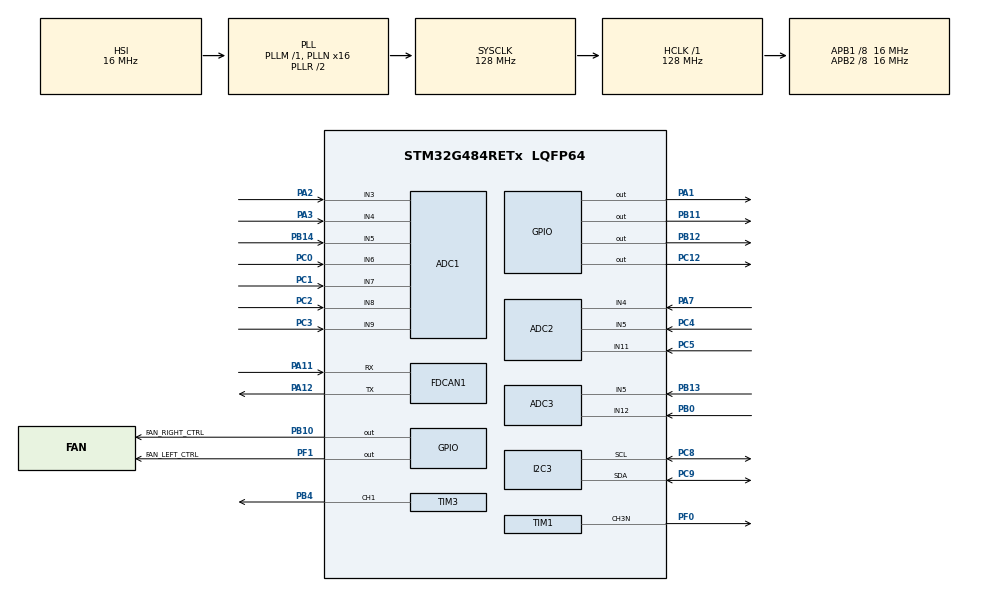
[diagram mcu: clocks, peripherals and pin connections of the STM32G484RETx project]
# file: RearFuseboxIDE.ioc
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ADC1.Channel-10\#ChannelRegularConversion=ADC_CHANNEL_9
ADC1.Channel-11\#ChannelRegularConversion=ADC_CHANNEL_3
ADC1.Channel-12\#ChannelRegularConversion=ADC_CHANNEL_4
ADC1.Channel-13\#ChannelRegularConversion=ADC_CHANNEL_5
ADC1.Channel-7\#ChannelRegularConversion=ADC_CHANNEL_6
ADC1.Channel-8\#ChannelRegularConversion=ADC_CHANNEL_7
ADC1.Channel-9\#ChannelRegularConversion=ADC_CHANNEL_8
ADC1.ClockPrescaler=ADC_CLOCK_SYNC_PCLK_DIV4
ADC1.ContinuousConvMode=ENABLE
ADC1.DMAContinuousRequests=ENABLE
ADC1.EOCSelection=ADC_EOC_SEQ_CONV
ADC1.NbrOfConversion=7
ADC1.NbrOfConversionFlag=1
ADC1.OffsetNumber-10\#ChannelRegularConversion=ADC_OFFSET_NONE
ADC1.OffsetNumber-11\#ChannelRegularConversion=ADC_OFFSET_NONE
ADC1.OffsetNumber-12\#ChannelRegularConversion=ADC_OFFSET_NONE
ADC1.OffsetNumber-13\#ChannelRegularConversion=ADC_OFFSET_NONE
ADC1.OffsetNumber-7\#ChannelRegularConversion=ADC_OFFSET_NONE
ADC1.OffsetNumber-8\#ChannelRegularConversion=ADC_OFFSET_NONE
ADC1.OffsetNumber-9\#ChannelRegularConversion=ADC_OFFSET_NONE
ADC1.Overrun=ADC_OVR_DATA_OVERWRITTEN
ADC1.Rank-10\#ChannelRegularConversion=4
ADC1.Rank-11\#ChannelRegularConversion=5
ADC1.Rank-12\#ChannelRegularConversion=6
ADC1.Rank-13\#ChannelRegularConversion=7
ADC1.Rank-7\#ChannelRegularConversion=1
ADC1.Rank-8\#ChannelRegularConversion=2
ADC1.Rank-9\#ChannelRegularConversion=3
ADC1.SamplingTime-10\#ChannelRegularConversion=ADC_SAMPLETIME_640CYCLES_5
ADC1.SamplingTime-11\#ChannelRegularConversion=ADC_SAMPLETIME_640CYCLES_5
ADC1.SamplingTime-12\#ChannelRegularConversion=ADC_SAMPLETIME_640CYCLES_5
ADC1.SamplingTime-13\#ChannelRegularConversion=ADC_SAMPLETIME_640CYCLES_5
ADC1.SamplingTime-7\#ChannelRegularConversion=ADC_SAMPLETIME_640CYCLES_5
ADC1.SamplingTime-8\#ChannelRegularConversion=ADC_SAMPLETIME_640CYCLES_5
ADC1.SamplingTime-9\#ChannelRegularConversion=ADC_SAMPLETIME_640CYCLES_5
ADC1.master=1
ADC2.Channel-0\#ChannelRegularConversion=ADC_CHANNEL_4
ADC2.Channel-3\#ChannelRegularConversion=ADC_CHANNEL_5
ADC2.Channel-4\#ChannelRegularConversion=ADC_CHANNEL_11
ADC2.ClockPrescaler=ADC_CLOCK_SYNC_PCLK_DIV4
ADC2.ContinuousConvMode=ENABLE
ADC2.DMAContinuousRequests=ENABLE
ADC2.EOCSelection=ADC_EOC_SEQ_CONV
ADC2.NbrOfConversion=3
ADC2.NbrOfConversionFlag=1
ADC2.OffsetNumber-0\#ChannelRegularConversion=ADC_OFFSET_NONE
ADC2.OffsetNumber-3\#ChannelRegularConversion=ADC_OFFSET_NONE
ADC2.OffsetNumber-4\#ChannelRegularConversion=ADC_OFFSET_NONE
ADC2.Overrun=ADC_OVR_DATA_OVERWRITTEN
ADC2.Rank-0\#ChannelRegularConversion=1
ADC2.Rank-3\#ChannelRegularConversion=2
ADC2.Rank-4\#ChannelRegularConversion=3
ADC2.SamplingTime-0\#ChannelRegularConversion=ADC_SAMPLETIME_640CYCLES_5
ADC2.SamplingTime-3\#ChannelRegularConversion=ADC_SAMPLETIME_640CYCLES_5
ADC2.SamplingTime-4\#ChannelRegularConversion=ADC_SAMPLETIME_640CYCLES_5
ADC3.Channel-0\#ChannelRegularConversion=ADC_CHANNEL_12
ADC3.Channel-1\#ChannelRegularConversion=ADC_CHANNEL_5
ADC3.ContinuousConvMode=ENABLE
ADC3.DMAContinuousRequests=ENABLE
ADC3.NbrOfConversion=2
ADC3.NbrOfConversionFlag=1
ADC3.OffsetNumber-0\#ChannelRegularConversion=ADC_OFFSET_NONE
ADC3.OffsetNumber-1\#ChannelRegularConversion=ADC_OFFSET_NONE
ADC3.Rank-0\#ChannelRegularConversion=1
ADC3.Rank-1\#ChannelRegularConversion=2
ADC3.SamplingTime-0\#ChannelRegularConversion=ADC_SAMPLETIME_640CYCLES_5
ADC3.SamplingTime-1\#ChannelRegularConversion=ADC_SAMPLETIME_640CYCLES_5
ADC3.master=1
Dma.ADC1.0.Direction=DMA_PERIPH_TO_MEMORY
Dma.ADC1.0.EventEnable=DISABLE
Dma.ADC1.0.Instance=DMA1_Channel1
Dma.ADC1.0.MemDataAlignment=DMA_MDATAALIGN_HALFWORD
Dma.ADC1.0.MemInc=DMA_MINC_ENABLE
Dma.ADC1.0.Mode=DMA_CIRCULAR
Dma.ADC1.0.PeriphDataAlignment=DMA_PDATAALIGN_HALFWORD
Dma.ADC1.0.PeriphInc=DMA_PINC_DISABLE
Dma.ADC1.0.Polarity=HAL_DMAMUX_REQ_GEN_RISING
Dma.ADC1.0.Priority=DMA_PRIORITY_LOW
Dma.ADC1.0.RequestNumber=1
Dma.ADC1.0.SignalID=NONE
Dma.ADC1.0.SyncEnable=DISABLE
Dma.ADC1.0.SyncPolarity=HAL_DMAMUX_SYNC_NO_EVENT
Dma.ADC1.0.SyncRequestNumber=1
Dma.ADC1.0.SyncSignalID=NONE
Dma.ADC2.1.Direction=DMA_PERIPH_TO_MEMORY
Dma.ADC2.1.EventEnable=DISABLE
Dma.ADC2.1.Instance=DMA1_Channel2
Dma.ADC2.1.MemDataAlignment=DMA_MDATAALIGN_HALFWORD
Dma.ADC2.1.MemInc=DMA_MINC_ENABLE
Dma.ADC2.1.Mode=DMA_CIRCULAR
Dma.ADC2.1.PeriphDataAlignment=DMA_PDATAALIGN_HALFWORD
Dma.ADC2.1.PeriphInc=DMA_PINC_DISABLE
Dma.ADC2.1.Polarity=HAL_DMAMUX_REQ_GEN_RISING
Dma.ADC2.1.Priority=DMA_PRIORITY_LOW
Dma.ADC2.1.RequestNumber=1
Dma.ADC2.1.SignalID=NONE
Dma.ADC2.1.SyncEnable=DISABLE
Dma.ADC2.1.SyncPolarity=HAL_DMAMUX_SYNC_NO_EVENT
Dma.ADC2.1.SyncRequestNumber=1
Dma.ADC2.1.SyncSignalID=NONE
Dma.ADC3.2.Direction=DMA_PERIPH_TO_MEMORY
Dma.ADC3.2.EventEnable=DISABLE
Dma.ADC3.2.Instance=DMA1_Channel3
Dma.ADC3.2.MemDataAlignment=DMA_MDATAALIGN_HALFWORD
Dma.ADC3.2.MemInc=DMA_MINC_ENABLE
Dma.ADC3.2.Mode=DMA_CIRCULAR
Dma.ADC3.2.PeriphDataAlignment=DMA_PDATAALIGN_HALFWORD
Dma.ADC3.2.PeriphInc=DMA_PINC_DISABLE
Dma.ADC3.2.Polarity=HAL_DMAMUX_REQ_GEN_RISING
Dma.ADC3.2.Priority=DMA_PRIORITY_LOW
Dma.ADC3.2.RequestNumber=1
Dma.ADC3.2.SignalID=NONE
Dma.ADC3.2.SyncEnable=DISABLE
Dma.ADC3.2.SyncPolarity=HAL_DMAMUX_SYNC_NO_EVENT
Dma.ADC3.2.SyncRequestNumber=1
Dma.ADC3.2.SyncSignalID=NONE
Dma.Request0=ADC1
Dma.Request1=ADC2
Dma.Request2=ADC3
FDCAN1.ClockDivider=FDCAN_CLOCK_DIV1
FDCAN1.DataTimeSeg1=6
FDCAN1.NominalPrescaler=2
FDCAN1.NominalSyncJumpWidth=1
FDCAN1.NominalTimeSeg1=5
Mcu.Family=STM32G4
Mcu.Name=STM32G484RETx
Mcu.Package=LQFP64
NVIC.DMA1_Channel1_IRQn=true\:1\:0\:true\:false\:true\:false\:true
NVIC.DMA1_Channel2_IRQn=true\:2\:0\:true\:false\:true\:false\:true
NVIC.DMA1_Channel3_IRQn=true\:3\:0\:true\:false\:true\:false\:true
NVIC.PriorityGroup=NVIC_PRIORITYGROUP_4
NVIC.TIM2_IRQn=true\:0\:0\:false\:false\:true\:true\:true
PA1.Signal=GPIO_Output
PA11.Mode=FDCAN_Activate
PA11.Signal=FDCAN1_RX
PA12.Mode=FDCAN_Activate
PA12.Signal=FDCAN1_TX
PA13.Mode=Serial_Wire
PA13.Signal=SYS_JTMS-SWDIO
PA14.Mode=Serial_Wire
PA14.Signal=SYS_JTCK-SWCLK
PA2.Mode=IN3-Single-Ended
PA2.Signal=ADC1_IN3
PA3.Mode=IN4-Single-Ended
PA3.Signal=ADC1_IN4
PA7.Mode=IN4-Single-Ended
PA7.Signal=ADC2_IN4
PB0.Mode=IN12-Single-Ended
PB0.Signal=ADC3_IN12
PB10.GPIO_Label=FAN_RIGHT_CTRL
PB10.PinState=GPIO_PIN_RESET
PB10.Signal=GPIO_Output
PB11.Signal=GPIO_Output
PB12.Signal=GPIO_Output
PB13.Mode=IN5-Single-Ended
PB13.Signal=ADC3_IN5
PB14.Mode=IN5-Single-Ended
PB14.Signal=ADC1_IN5
PB4.Signal=S_TIM3_CH1
PC0.Mode=IN6-Single-Ended
PC0.Signal=ADC1_IN6
PC1.Mode=IN7-Single-Ended
PC1.Signal=ADC1_IN7
PC12.Signal=GPIO_Output
PC2.Mode=IN8-Single-Ended
PC2.Signal=ADC1_IN8
PC3.Mode=IN9-Single-Ended
PC3.Signal=ADC1_IN9
PC4.Mode=IN5-Single-Ended
PC4.Signal=ADC2_IN5
PC5.Mode=IN11-Single-Ended
PC5.Signal=ADC2_IN11
PC8.Mode=I2C
PC8.Signal=I2C3_SCL
PC9.Mode=I2C
PC9.Signal=I2C3_SDA
PF0-OSC_IN.Mode=PWM Generation3 CH3N
PF0-OSC_IN.Signal=TIM1_CH3N
PF1-OSC_OUT.GPIO_Label=FAN_LEFT_CTRL
PF1-OSC_OUT.PinState=GPIO_PIN_RESET
PF1-OSC_OUT.Signal=GPIO_Output
ProjectManager.HeapSize=0x2000
ProjectManager.StackSize=0x4000
ProjectManager.TargetToolchain=STM32CubeIDE
RCC.ADC12Freq_Value=128000000
RCC.ADC345Freq_Value=128000000
RCC.AHBFreq_Value=128000000
RCC.APB1CLKDivider=RCC_HCLK_DIV8
RCC.APB1Freq_Value=16000000
RCC.APB1TimFreq_Value=32000000
RCC.APB2CLKDivider=RCC_HCLK_DIV8
RCC.APB2Freq_Value=16000000
RCC.APB2TimFreq_Value=32000000
RCC.CortexFreq_Value=128000000
RCC.EXTERNAL_CLOCK_VALUE=12288000
RCC.HCLKFreq_Value=128000000
RCC.HSE_VALUE=8000000
RCC.HSI48_VALUE=48000000
RCC.HSI_VALUE=16000000
RCC.LSE_VALUE=32768
RCC.PLLN=16
RCC.SYSCLKFreq_VALUE=128000000
RCC.SYSCLKSource=RCC_SYSCLKSOURCE_PLLCLK
RCC.USBFreq_Value=128000000
RCC.VCOOutputFreq_Value=256000000
SH.S_TIM3_CH1.0=TIM3_CH1,PWM Generation1 CH1
TIM1.AutoReloadPreload=TIM_AUTORELOAD_PRELOAD_ENABLE
TIM1.Channel-PWM\ Generation3\ CH3N=TIM_CHANNEL_3
TIM1.PulseNoDither_3=30000
TIM2.PeriodNoDither=1000
TIM2.Prescaler=160
TIM3.Channel-PWM\ Generation1\ CH1=TIM_CHANNEL_1
TIM3.PulseNoDither_1=60000
VP_IWDG_VS_IWDG.Mode=IWDG_Activate
VP_SYS_VS_DBSignals.Mode=DisableDeadBatterySignals
VP_TIM1_VS_ClockSourceINT.Mode=Internal
VP_TIM2_VS_ClockSourceINT.Mode=Internal
board=custom

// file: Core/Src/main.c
/* USER CODE BEGIN Header */
/**
  ******************************************************************************
  * @file           : main.c
  * @brief          : Main program body
  ******************************************************************************
  * @attention
  *
  * <h2><center>&copy; Copyright (c) 2021 STMicroelectronics.
  * All rights reserved.</center></h2>
  *
  * This software component is licensed by ST under BSD 3-Clause license,
  * the "License"; You may not use this file except in compliance with the
  * License. You may obtain a copy of the License at:
  *                        opensource.org/licenses/BSD-3-Clause
  *
  ******************************************************************************
  */
/* USER CODE END Header */
#include "main.h"

/* USER CODE BEGIN Includes */
/*
TIMER 16mhz
/160 => 100khz
count to 1000
*/
/* USER CODE END Includes */

/* USER CODE BEGIN PD */
#define ADC1NUMConversions 7
#define ADC2NUMConversions 4
#define ADC3NUMConversions 2
#define DSP_EMA_I32_ALPHA(x) ( (uint16_t)(x * 65535) )

uint16_t 	 lastConversionResults[12];
uint16_t 	 averageConversionResults[12];

uint8_t ubKeyNumber = 0x0;
FDCAN_RxHeaderTypeDef RxHeader;
uint8_t RxData[8];
FDCAN_TxHeaderTypeDef TxHeader;
uint8_t TxData[8];
uint32_t timer;
FDCAN_ErrorCountersTypeDef errorCounter;
FDCAN_ProtocolStatusTypeDef protocolStatus;
uint16_t   uhADCxConvertedData[7]; /* ADC group regular conversion data */
uint16_t 	 uhADC2ConvertedData[3];
uint16_t 	 uhADC3ConvertedData[2];

/* Variables for ADC conversion data computation to physical values */
uint16_t   uhADCxConvertedData_Voltage_mVolt = 0;  /* Value of voltage calculated from ADC conversion data (unit: mV) */

int16_t accelerationRes[3] = {0,0,0};
short canbusI = 0;
char insignificantAlternationCANBUS=0;
/* USER CODE END PD */

ADC_HandleTypeDef hadc1;
ADC_HandleTypeDef hadc2;
ADC_HandleTypeDef hadc3;
DMA_HandleTypeDef hdma_adc1;
DMA_HandleTypeDef hdma_adc2;
DMA_HandleTypeDef hdma_adc3;

FDCAN_HandleTypeDef hfdcan1;

I2C_HandleTypeDef hi2c3;

IWDG_HandleTypeDef hiwdg;

TIM_HandleTypeDef htim1;
TIM_HandleTypeDef htim2;
TIM_HandleTypeDef htim3;

/* USER CODE BEGIN PV */
uint8_t CANframeData[8];
FDCAN_RxHeaderTypeDef CANframeHeader;
TIM_OC_InitTypeDef sConfigOCTIM1 = {0};

int lightStateI=0;
uint16_t lightStates[5] = {0,1,20,50,100};

int ADC1Conversions=0;
int ADC2Conversions=0;
int ADC3Conversions=0;
unsigned char accId=0;
int16_t accresAvg[] = {0,0,0};
uint32_t fifo0fill = 0;
uint32_t fifo1fill = 0;
GPIO_InitTypeDef GPIO_InitStruct;

/* USER CODE END PV */

void SystemClock_Config(void);
static void MX_GPIO_Init(void);
static void MX_DMA_Init(void);
static void MX_ADC1_Init(void);
static void MX_FDCAN1_Init(void);
static void MX_ADC2_Init(void);
static void MX_ADC3_Init(void);
static void MX_TIM2_Init(void);
static void MX_TIM3_Init(void);
static void MX_IWDG_Init(void);
static void MX_I2C3_Init(void);
static void MX_TIM1_Init(void);
/* USER CODE BEGIN PFP */
void FDCAN_Config(void);
int32_t dsp_ema_i32(int32_t in, int32_t average, uint16_t alpha);

//static void ADC1_SELECT(int index, ADC_HandleTypeDef* hadc1);
/* USER CODE END PFP */

int main(void)
{

  /* MCU Configuration--------------------------------------------------------*/

  /* Reset of all peripherals, Initializes the Flash interface and the Systick. */
  HAL_Init();

  /* Configure the system clock */
  SystemClock_Config();

  /* Initialize all configured peripherals */
  MX_GPIO_Init();
  MX_DMA_Init();
  MX_ADC1_Init();
  MX_FDCAN1_Init();
  MX_ADC2_Init();
  MX_ADC3_Init();
  MX_TIM2_Init();
  MX_TIM3_Init();
  MX_IWDG_Init();
  MX_I2C3_Init();
  MX_TIM1_Init();
  /* USER CODE BEGIN 2 */
  //SET AUX (LEFT FAN) OFF
  	HAL_GPIO_WritePin(FAN_LEFT_CTRL_GPIO_Port,FAN_LEFT_CTRL_Pin,GPIO_PIN_RESET);
  	//SET ETC (RIGHT FAN) OFF
  	HAL_GPIO_WritePin(FAN_RIGHT_CTRL_GPIO_Port,FAN_RIGHT_CTRL_Pin,GPIO_PIN_RESET);

	HAL_Delay(10);
	HAL_ADC_Start_DMA(&hadc1, (uint32_t*)uhADCxConvertedData, 7);
	HAL_ADC_Start_DMA(&hadc2, (uint32_t*)uhADC2ConvertedData, 3);
	HAL_ADC_Start_DMA(&hadc3, (uint32_t*)uhADC3ConvertedData, 2);

	HAL_TIM_Base_Start_IT(&htim2);
	FDCAN_Config();
	//HAL_TIM_PWM_Start(&htim3, TIM_CHANNEL_1);
	accId = LSM6DSL_AccReadID();
	//xxxxxx11
	LSM6DSL_AccInit(LSM6DSL_ACC_FULLSCALE_4G+LSM6DSL_ODR_6660Hz+3);
	HAL_GPIO_WritePin(FAN_LEFT_CTRL_GPIO_Port,FAN_LEFT_CTRL_Pin,GPIO_PIN_RESET);
	//SET ETC (RIGHT FAN) OFF
	HAL_GPIO_WritePin(FAN_RIGHT_CTRL_GPIO_Port,FAN_RIGHT_CTRL_Pin,GPIO_PIN_RESET);
	//01001000
	//LSM6DSL_ACC_GYRO_I2C_ADDRESS_LOW, LSM6DSL_ACC_GYRO_CTRL8_XL,0b01001000);
	//SENSOR_IO_Write(LSM6DSL_ACC_GYRO_I2C_ADDRESS_LOW, LSM6DSL_ACC_GYRO_CTRL8_XL,0b11101100);
	SENSOR_IO_Write(LSM6DSL_ACC_GYRO_I2C_ADDRESS_LOW, LSM6DSL_ACC_GYRO_CTRL8_XL,0b11001000);
	//SENSOR_IO_Read(LSM6DSL_ACC_GYRO_I2C_ADDRESS_LOW,	LSM6DSL_ACC_GYRO_OUT_TEMP_L);
	//SENSOR_IO_Read(LSM6DSL_ACC_GYRO_I2C_ADDRESS_LOW,	LSM6DSL_ACC_GYRO_OUT_TEMP_H);
	HAL_TIM_PWM_Start(&htim1, TIM_CHANNEL_3);
	HAL_TIMEx_PWMN_Start(&htim1, TIM_CHANNEL_3);

	sConfigOCTIM1.OCMode = TIM_OCMODE_PWM1;
	sConfigOCTIM1.Pulse = 99;
	sConfigOCTIM1.OCPolarity = TIM_OCPOLARITY_HIGH;
	sConfigOCTIM1.OCNPolarity = TIM_OCNPOLARITY_HIGH;
	sConfigOCTIM1.OCFastMode = TIM_OCFAST_DISABLE;
	sConfigOCTIM1.OCIdleState = TIM_OCIDLESTATE_RESET;
	sConfigOCTIM1.OCNIdleState = TIM_OCNIDLESTATE_RESET;

  /* USER CODE END 2 */

  /* Infinite loop */
  /* USER CODE BEGIN WHILE */
  while (1)
  {
    //tickValue = HAL_GetTick();
	  //if(HAL_FDCAN_GetRxFifoFillLevel(&hfdcan1, FDCAN_RX_FIFO1) > 0){

	  			HAL_FDCAN_GetRxMessage(&hfdcan1, FDCAN_RX_FIFO0, &CANframeHeader, &CANframeData);
	  			//fifo1fill++;

	  			if(CANframeHeader.Identifier == 0x11){
	  				if(CANframeData[1]&0b00001000 == 0b00001000){
	  					lightStateI++;
	  					if(lightStateI > 4){
	  						lightStateI=0;
	  					}
	  					sConfigOCTIM1.Pulse=lightStates[lightStateI];
	  					if (HAL_TIM_PWM_ConfigChannel(&htim1, &sConfigOCTIM1, TIM_CHANNEL_3) != HAL_OK)
	  				    {
	  					Error_Handler();
	  				  }
	  				}

	  			}
	  		//}

		LSM6DSL_AccReadXYZ(accelerationRes);
		accresAvg[0] = (int16_t)(dsp_ema_i32(accelerationRes[0], accresAvg[0], DSP_EMA_I32_ALPHA(0.1)));
		accresAvg[1] = (int16_t)(dsp_ema_i32(accelerationRes[1], accresAvg[1], DSP_EMA_I32_ALPHA(0.1)));
		accresAvg[2] = (int16_t)(dsp_ema_i32(accelerationRes[2], accresAvg[2], DSP_EMA_I32_ALPHA(0.1)));

		fifo0fill=HAL_FDCAN_GetRxFifoFillLevel(&hfdcan1, FDCAN_RX_FIFO0);
		fifo1fill=HAL_FDCAN_GetRxFifoFillLevel(&hfdcan1, FDCAN_RX_FIFO1);

		//accelerationMagnitude = accelerationRes[0]*accelerationRes[0] + accelerationRes[1]*accelerationRes[1] + accelerationRes[2]*accelerationRes[2];
		//lastTickValue = tickValue;
		//tickValue = HAL_GetTick();
		//tickValueDelta = tickValue - lastTickValue;
    /* USER CODE END WHILE */

  }
}

void SystemClock_Config(void)
{
  RCC_OscInitTypeDef RCC_OscInitStruct = {0};
  RCC_ClkInitTypeDef RCC_ClkInitStruct = {0};
  RCC_PeriphCLKInitTypeDef PeriphClkInit = {0};

  /** Configure the main internal regulator output voltage
  */
  HAL_PWREx_ControlVoltageScaling(PWR_REGULATOR_VOLTAGE_SCALE1);
  /** Initializes the RCC Oscillators according to the specified parameters
  * in the RCC_OscInitTypeDef structure.
  */
  RCC_OscInitStruct.OscillatorType = RCC_OSCILLATORTYPE_HSI|RCC_OSCILLATORTYPE_LSI;
  RCC_OscInitStruct.HSIState = RCC_HSI_ON;
  RCC_OscInitStruct.HSICalibrationValue = RCC_HSICALIBRATION_DEFAULT;
  RCC_OscInitStruct.LSIState = RCC_LSI_ON;
  RCC_OscInitStruct.PLL.PLLState = RCC_PLL_ON;
  RCC_OscInitStruct.PLL.PLLSource = RCC_PLLSOURCE_HSI;
  RCC_OscInitStruct.PLL.PLLM = RCC_PLLM_DIV1;
  RCC_OscInitStruct.PLL.PLLN = 16;
  RCC_OscInitStruct.PLL.PLLP = RCC_PLLP_DIV2;
  RCC_OscInitStruct.PLL.PLLQ = RCC_PLLQ_DIV2;
  RCC_OscInitStruct.PLL.PLLR = RCC_PLLR_DIV2;
  if (HAL_RCC_OscConfig(&RCC_OscInitStruct) != HAL_OK)
  {
    Error_Handler();
  }
  /** Initializes the CPU, AHB and APB buses clocks
  */
  RCC_ClkInitStruct.ClockType = RCC_CLOCKTYPE_HCLK|RCC_CLOCKTYPE_SYSCLK
                              |RCC_CLOCKTYPE_PCLK1|RCC_CLOCKTYPE_PCLK2;
  RCC_ClkInitStruct.SYSCLKSource = RCC_SYSCLKSOURCE_PLLCLK;
  RCC_ClkInitStruct.AHBCLKDivider = RCC_SYSCLK_DIV1;
  RCC_ClkInitStruct.APB1CLKDivider = RCC_HCLK_DIV8;
  RCC_ClkInitStruct.APB2CLKDivider = RCC_HCLK_DIV8;

  if (HAL_RCC_ClockConfig(&RCC_ClkInitStruct, FLASH_LATENCY_3) != HAL_OK)
  {
    Error_Handler();
  }
  /** Initializes the peripherals clocks
  */
  PeriphClkInit.PeriphClockSelection = RCC_PERIPHCLK_I2C3|RCC_PERIPHCLK_ADC12
                              |RCC_PERIPHCLK_ADC345|RCC_PERIPHCLK_FDCAN;
  PeriphClkInit.I2c3ClockSelection = RCC_I2C3CLKSOURCE_PCLK1;
  PeriphClkInit.FdcanClockSelection = RCC_FDCANCLKSOURCE_PCLK1;
  PeriphClkInit.Adc12ClockSelection = RCC_ADC12CLKSOURCE_SYSCLK;
  PeriphClkInit.Adc345ClockSelection = RCC_ADC345CLKSOURCE_SYSCLK;
  if (HAL_RCCEx_PeriphCLKConfig(&PeriphClkInit) != HAL_OK)
  {
    Error_Handler();
  }
}

static void MX_ADC1_Init(void)
{

  ADC_MultiModeTypeDef multimode = {0};
  ADC_ChannelConfTypeDef sConfig = {0};

  /** Common config
  */
  hadc1.Instance = ADC1;
  hadc1.Init.ClockPrescaler = ADC_CLOCK_SYNC_PCLK_DIV4;
  hadc1.Init.Resolution = ADC_RESOLUTION_12B;
  hadc1.Init.DataAlign = ADC_DATAALIGN_RIGHT;
  hadc1.Init.GainCompensation = 0;
  hadc1.Init.ScanConvMode = ADC_SCAN_ENABLE;
  hadc1.Init.EOCSelection = ADC_EOC_SEQ_CONV;
  hadc1.Init.LowPowerAutoWait = DISABLE;
  hadc1.Init.ContinuousConvMode = ENABLE;
  hadc1.Init.NbrOfConversion = 7;
  hadc1.Init.DiscontinuousConvMode = DISABLE;
  hadc1.Init.ExternalTrigConv = ADC_SOFTWARE_START;
  hadc1.Init.ExternalTrigConvEdge = ADC_EXTERNALTRIGCONVEDGE_NONE;
  hadc1.Init.DMAContinuousRequests = ENABLE;
  hadc1.Init.Overrun = ADC_OVR_DATA_OVERWRITTEN;
  hadc1.Init.OversamplingMode = DISABLE;
  if (HAL_ADC_Init(&hadc1) != HAL_OK)
  {
    Error_Handler();
  }
  /** Configure the ADC multi-mode
  */
  multimode.Mode = ADC_MODE_INDEPENDENT;
  if (HAL_ADCEx_MultiModeConfigChannel(&hadc1, &multimode) != HAL_OK)
  {
    Error_Handler();
  }
  /** Configure Regular Channel
  */
  sConfig.Channel = ADC_CHANNEL_6;
  sConfig.Rank = ADC_REGULAR_RANK_1;
  sConfig.SamplingTime = ADC_SAMPLETIME_640CYCLES_5;
  sConfig.SingleDiff = ADC_SINGLE_ENDED;
  sConfig.OffsetNumber = ADC_OFFSET_NONE;
  sConfig.Offset = 0;
  if (HAL_ADC_ConfigChannel(&hadc1, &sConfig) != HAL_OK)
  {
    Error_Handler();
  }
  /** Configure Regular Channel
  */
  sConfig.Channel = ADC_CHANNEL_7;
  sConfig.Rank = ADC_REGULAR_RANK_2;
  if (HAL_ADC_ConfigChannel(&hadc1, &sConfig) != HAL_OK)
  {
    Error_Handler();
  }
  /** Configure Regular Channel
  */
  sConfig.Channel = ADC_CHANNEL_8;
  sConfig.Rank = ADC_REGULAR_RANK_3;
  if (HAL_ADC_ConfigChannel(&hadc1, &sConfig) != HAL_OK)
  {
    Error_Handler();
  }
  /** Configure Regular Channel
  */
  sConfig.Channel = ADC_CHANNEL_9;
  sConfig.Rank = ADC_REGULAR_RANK_4;
  if (HAL_ADC_ConfigChannel(&hadc1, &sConfig) != HAL_OK)
  {
    Error_Handler();
  }
  /** Configure Regular Channel
  */
  sConfig.Channel = ADC_CHANNEL_3;
  sConfig.Rank = ADC_REGULAR_RANK_5;
  if (HAL_ADC_ConfigChannel(&hadc1, &sConfig) != HAL_OK)
  {
    Error_Handler();
  }
  /** Configure Regular Channel
  */
  sConfig.Channel = ADC_CHANNEL_4;
  sConfig.Rank = ADC_REGULAR_RANK_6;
  if (HAL_ADC_ConfigChannel(&hadc1, &sConfig) != HAL_OK)
  {
    Error_Handler();
  }
  /** Configure Regular Channel
  */
  sConfig.Channel = ADC_CHANNEL_5;
  sConfig.Rank = ADC_REGULAR_RANK_7;
  if (HAL_ADC_ConfigChannel(&hadc1, &sConfig) != HAL_OK)
  {
    Error_Handler();
  }
  /* USER CODE BEGIN ADC1_Init 2 */
//CH3 - AUX - single fan 		index 4
//CH4 - ETC - single fan	 	index 5
//CH5 - SCRET - FANS ON 		index 6
  /* USER CODE END ADC1_Init 2 */

}

static void MX_ADC2_Init(void)
{

  /* USER CODE BEGIN ADC2_Init 0 */
	__HAL_RCC_ADC12_CLK_ENABLE();
  /* USER CODE END ADC2_Init 0 */

  ADC_ChannelConfTypeDef sConfig = {0};

  /** Common config
  */
  hadc2.Instance = ADC2;
  hadc2.Init.ClockPrescaler = ADC_CLOCK_SYNC_PCLK_DIV4;
  hadc2.Init.Resolution = ADC_RESOLUTION_12B;
  hadc2.Init.DataAlign = ADC_DATAALIGN_RIGHT;
  hadc2.Init.GainCompensation = 0;
  hadc2.Init.ScanConvMode = ADC_SCAN_ENABLE;
  hadc2.Init.EOCSelection = ADC_EOC_SEQ_CONV;
  hadc2.Init.LowPowerAutoWait = DISABLE;
  hadc2.Init.ContinuousConvMode = ENABLE;
  hadc2.Init.NbrOfConversion = 3;
  hadc2.Init.DiscontinuousConvMode = DISABLE;
  hadc2.Init.ExternalTrigConv = ADC_SOFTWARE_START;
  hadc2.Init.ExternalTrigConvEdge = ADC_EXTERNALTRIGCONVEDGE_NONE;
  hadc2.Init.DMAContinuousRequests = ENABLE;
  hadc2.Init.Overrun = ADC_OVR_DATA_OVERWRITTEN;
  hadc2.Init.OversamplingMode = DISABLE;
  if (HAL_ADC_Init(&hadc2) != HAL_OK)
  {
    Error_Handler();
  }
  /** Configure Regular Channel
  */
  sConfig.Channel = ADC_CHANNEL_4;
  sConfig.Rank = ADC_REGULAR_RANK_1;
  sConfig.SamplingTime = ADC_SAMPLETIME_640CYCLES_5;
  sConfig.SingleDiff = ADC_SINGLE_ENDED;
  sConfig.OffsetNumber = ADC_OFFSET_NONE;
  sConfig.Offset = 0;
  if (HAL_ADC_ConfigChannel(&hadc2, &sConfig) != HAL_OK)
  {
    Error_Handler();
  }
  /** Configure Regular Channel
  */
  sConfig.Channel = ADC_CHANNEL_5;
  sConfig.Rank = ADC_REGULAR_RANK_2;
  if (HAL_ADC_ConfigChannel(&hadc2, &sConfig) != HAL_OK)
  {
    Error_Handler();
  }
  /** Configure Regular Channel
  */
  sConfig.Channel = ADC_CHANNEL_11;
  sConfig.Rank = ADC_REGULAR_RANK_3;
  if (HAL_ADC_ConfigChannel(&hadc2, &sConfig) != HAL_OK)
  {
    Error_Handler();
  }
  /* USER CODE BEGIN ADC2_Init 2 */
	//CS1 ADC 2 IN 4				ID7
	//BOTH FANS ADC 2 IN 11	ID9
	//FUEL ADC 2 IN 15			ID10

  /* USER CODE END ADC2_Init 2 */

}

static void MX_ADC3_Init(void)
{

  ADC_MultiModeTypeDef multimode = {0};
  ADC_ChannelConfTypeDef sConfig = {0};

  /** Common config
  */
  hadc3.Instance = ADC3;
  hadc3.Init.ClockPrescaler = ADC_CLOCK_SYNC_PCLK_DIV4;
  hadc3.Init.Resolution = ADC_RESOLUTION_12B;
  hadc3.Init.DataAlign = ADC_DATAALIGN_RIGHT;
  hadc3.Init.GainCompensation = 0;
  hadc3.Init.ScanConvMode = ADC_SCAN_ENABLE;
  hadc3.Init.EOCSelection = ADC_EOC_SINGLE_CONV;
  hadc3.Init.LowPowerAutoWait = DISABLE;
  hadc3.Init.ContinuousConvMode = ENABLE;
  hadc3.Init.NbrOfConversion = 2;
  hadc3.Init.DiscontinuousConvMode = DISABLE;
  hadc3.Init.ExternalTrigConv = ADC_SOFTWARE_START;
  hadc3.Init.ExternalTrigConvEdge = ADC_EXTERNALTRIGCONVEDGE_NONE;
  hadc3.Init.DMAContinuousRequests = ENABLE;
  hadc3.Init.Overrun = ADC_OVR_DATA_PRESERVED;
  hadc3.Init.OversamplingMode = DISABLE;
  if (HAL_ADC_Init(&hadc3) != HAL_OK)
  {
    Error_Handler();
  }
  /** Configure the ADC multi-mode
  */
  multimode.Mode = ADC_MODE_INDEPENDENT;
  if (HAL_ADCEx_MultiModeConfigChannel(&hadc3, &multimode) != HAL_OK)
  {
    Error_Handler();
  }
  /** Configure Regular Channel
  */
  sConfig.Channel = ADC_CHANNEL_12;
  sConfig.Rank = ADC_REGULAR_RANK_1;
  sConfig.SamplingTime = ADC_SAMPLETIME_640CYCLES_5;
  sConfig.SingleDiff = ADC_SINGLE_ENDED;
  sConfig.OffsetNumber = ADC_OFFSET_NONE;
  sConfig.Offset = 0;
  if (HAL_ADC_ConfigChannel(&hadc3, &sConfig) != HAL_OK)
  {
    Error_Handler();
  }
  /** Configure Regular Channel
  */
  sConfig.Channel = ADC_CHANNEL_5;
  sConfig.Rank = ADC_REGULAR_RANK_2;
  if (HAL_ADC_ConfigChannel(&hadc3, &sConfig) != HAL_OK)
  {
    Error_Handler();
  }

}

static void MX_FDCAN1_Init(void)
{

  hfdcan1.Instance = FDCAN1;
  hfdcan1.Init.ClockDivider = FDCAN_CLOCK_DIV1;
  hfdcan1.Init.FrameFormat = FDCAN_FRAME_CLASSIC;
  hfdcan1.Init.Mode = FDCAN_MODE_NORMAL;
  hfdcan1.Init.AutoRetransmission = DISABLE;
  hfdcan1.Init.TransmitPause = DISABLE;
  hfdcan1.Init.ProtocolException = DISABLE;
  hfdcan1.Init.NominalPrescaler = 2;
  hfdcan1.Init.NominalSyncJumpWidth = 1;
  hfdcan1.Init.NominalTimeSeg1 = 5;
  hfdcan1.Init.NominalTimeSeg2 = 2;
  hfdcan1.Init.DataPrescaler = 1;
  hfdcan1.Init.DataSyncJumpWidth = 1;
  hfdcan1.Init.DataTimeSeg1 = 6;
  hfdcan1.Init.DataTimeSeg2 = 1;
  hfdcan1.Init.StdFiltersNbr = 0;
  hfdcan1.Init.ExtFiltersNbr = 0;
  hfdcan1.Init.TxFifoQueueMode = FDCAN_TX_FIFO_OPERATION;
  if (HAL_FDCAN_Init(&hfdcan1) != HAL_OK)
  {
    Error_Handler();
  }

}

static void MX_I2C3_Init(void)
{

  hi2c3.Instance = I2C3;
  hi2c3.Init.Timing = 0x00303D5B;
  hi2c3.Init.OwnAddress1 = 0;
  hi2c3.Init.AddressingMode = I2C_ADDRESSINGMODE_7BIT;
  hi2c3.Init.DualAddressMode = I2C_DUALADDRESS_DISABLE;
  hi2c3.Init.OwnAddress2 = 0;
  hi2c3.Init.OwnAddress2Masks = I2C_OA2_NOMASK;
  hi2c3.Init.GeneralCallMode = I2C_GENERALCALL_DISABLE;
  hi2c3.Init.NoStretchMode = I2C_NOSTRETCH_DISABLE;
  if (HAL_I2C_Init(&hi2c3) != HAL_OK)
  {
    Error_Handler();
  }
  /** Configure Analogue filter
  */
  if (HAL_I2CEx_ConfigAnalogFilter(&hi2c3, I2C_ANALOGFILTER_ENABLE) != HAL_OK)
  {
    Error_Handler();
  }
  /** Configure Digital filter
  */
  if (HAL_I2CEx_ConfigDigitalFilter(&hi2c3, 0) != HAL_OK)
  {
    Error_Handler();
  }

}

static void MX_IWDG_Init(void)
{

  hiwdg.Instance = IWDG;
  hiwdg.Init.Prescaler = IWDG_PRESCALER_4;
  hiwdg.Init.Window = 4095;
  hiwdg.Init.Reload = 4095;
  if (HAL_IWDG_Init(&hiwdg) != HAL_OK)
  {
    Error_Handler();
  }

}

static void MX_TIM1_Init(void)
{

  TIM_ClockConfigTypeDef sClockSourceConfig = {0};
  TIM_MasterConfigTypeDef sMasterConfig = {0};
  TIM_OC_InitTypeDef sConfigOC = {0};
  TIM_BreakDeadTimeConfigTypeDef sBreakDeadTimeConfig = {0};

  htim1.Instance = TIM1;
  htim1.Init.Prescaler = 20;
  htim1.Init.CounterMode = TIM_COUNTERMODE_UP;
  htim1.Init.Period = 1000;
  htim1.Init.ClockDivision = TIM_CLOCKDIVISION_DIV4;
  htim1.Init.RepetitionCounter = 0;
  htim1.Init.AutoReloadPreload = TIM_AUTORELOAD_PRELOAD_ENABLE;
  if (HAL_TIM_Base_Init(&htim1) != HAL_OK)
  {
    Error_Handler();
  }
  sClockSourceConfig.ClockSource = TIM_CLOCKSOURCE_INTERNAL;
  if (HAL_TIM_ConfigClockSource(&htim1, &sClockSourceConfig) != HAL_OK)
  {
    Error_Handler();
  }
  if (HAL_TIM_PWM_Init(&htim1) != HAL_OK)
  {
    Error_Handler();
  }
  sMasterConfig.MasterOutputTrigger = TIM_TRGO_RESET;
  sMasterConfig.MasterOutputTrigger2 = TIM_TRGO2_RESET;
  sMasterConfig.MasterSlaveMode = TIM_MASTERSLAVEMODE_DISABLE;
  if (HAL_TIMEx_MasterConfigSynchronization(&htim1, &sMasterConfig) != HAL_OK)
  {
    Error_Handler();
  }
  sConfigOC.OCMode = TIM_OCMODE_PWM1;
  sConfigOC.Pulse = 997;
  sConfigOC.OCPolarity = TIM_OCPOLARITY_HIGH;
  sConfigOC.OCNPolarity = TIM_OCNPOLARITY_HIGH;
  sConfigOC.OCFastMode = TIM_OCFAST_DISABLE;
  sConfigOC.OCIdleState = TIM_OCIDLESTATE_RESET;
  sConfigOC.OCNIdleState = TIM_OCNIDLESTATE_RESET;
  if (HAL_TIM_PWM_ConfigChannel(&htim1, &sConfigOC, TIM_CHANNEL_3) != HAL_OK)
  {
    Error_Handler();
  }
  sBreakDeadTimeConfig.OffStateRunMode = TIM_OSSR_DISABLE;
  sBreakDeadTimeConfig.OffStateIDLEMode = TIM_OSSI_DISABLE;
  sBreakDeadTimeConfig.LockLevel = TIM_LOCKLEVEL_OFF;
  sBreakDeadTimeConfig.DeadTime = 0;
  sBreakDeadTimeConfig.BreakState = TIM_BREAK_DISABLE;
  sBreakDeadTimeConfig.BreakPolarity = TIM_BREAKPOLARITY_HIGH;
  sBreakDeadTimeConfig.BreakFilter = 0;
  sBreakDeadTimeConfig.BreakAFMode = TIM_BREAK_AFMODE_INPUT;
  sBreakDeadTimeConfig.Break2State = TIM_BREAK2_DISABLE;
  sBreakDeadTimeConfig.Break2Polarity = TIM_BREAK2POLARITY_HIGH;
  sBreakDeadTimeConfig.Break2Filter = 0;
  sBreakDeadTimeConfig.Break2AFMode = TIM_BREAK_AFMODE_INPUT;
  sBreakDeadTimeConfig.AutomaticOutput = TIM_AUTOMATICOUTPUT_DISABLE;
  if (HAL_TIMEx_ConfigBreakDeadTime(&htim1, &sBreakDeadTimeConfig) != HAL_OK)
  {
    Error_Handler();
  }
  HAL_TIM_MspPostInit(&htim1);

}

static void MX_TIM2_Init(void)
{

  TIM_ClockConfigTypeDef sClockSourceConfig = {0};
  TIM_MasterConfigTypeDef sMasterConfig = {0};

  htim2.Instance = TIM2;
  htim2.Init.Prescaler = 160;
  htim2.Init.CounterMode = TIM_COUNTERMODE_UP;
  htim2.Init.Period = 1000;
  htim2.Init.ClockDivision = TIM_CLOCKDIVISION_DIV1;
  htim2.Init.AutoReloadPreload = TIM_AUTORELOAD_PRELOAD_DISABLE;
  if (HAL_TIM_Base_Init(&htim2) != HAL_OK)
  {
    Error_Handler();
  }
  sClockSourceConfig.ClockSource = TIM_CLOCKSOURCE_INTERNAL;
  if (HAL_TIM_ConfigClockSource(&htim2, &sClockSourceConfig) != HAL_OK)
  {
    Error_Handler();
  }
  sMasterConfig.MasterOutputTrigger = TIM_TRGO_RESET;
  sMasterConfig.MasterSlaveMode = TIM_MASTERSLAVEMODE_DISABLE;
  if (HAL_TIMEx_MasterConfigSynchronization(&htim2, &sMasterConfig) != HAL_OK)
  {
    Error_Handler();
  }

}

static void MX_TIM3_Init(void)
{

  TIM_MasterConfigTypeDef sMasterConfig = {0};
  TIM_OC_InitTypeDef sConfigOC = {0};

  htim3.Instance = TIM3;
  htim3.Init.Prescaler = 0;
  htim3.Init.CounterMode = TIM_COUNTERMODE_UP;
  htim3.Init.Period = 65535;
  htim3.Init.ClockDivision = TIM_CLOCKDIVISION_DIV1;
  htim3.Init.AutoReloadPreload = TIM_AUTORELOAD_PRELOAD_DISABLE;
  if (HAL_TIM_PWM_Init(&htim3) != HAL_OK)
  {
    Error_Handler();
  }
  sMasterConfig.MasterOutputTrigger = TIM_TRGO_RESET;
  sMasterConfig.MasterSlaveMode = TIM_MASTERSLAVEMODE_DISABLE;
  if (HAL_TIMEx_MasterConfigSynchronization(&htim3, &sMasterConfig) != HAL_OK)
  {
    Error_Handler();
  }
  sConfigOC.OCMode = TIM_OCMODE_PWM1;
  sConfigOC.Pulse = 60000;
  sConfigOC.OCPolarity = TIM_OCPOLARITY_HIGH;
  sConfigOC.OCFastMode = TIM_OCFAST_DISABLE;
  if (HAL_TIM_PWM_ConfigChannel(&htim3, &sConfigOC, TIM_CHANNEL_1) != HAL_OK)
  {
    Error_Handler();
  }
  HAL_TIM_MspPostInit(&htim3);

}

static void MX_DMA_Init(void)
{

  /* DMA controller clock enable */
  __HAL_RCC_DMAMUX1_CLK_ENABLE();
  __HAL_RCC_DMA1_CLK_ENABLE();

  /* DMA interrupt init */
  /* DMA1_Channel1_IRQn interrupt configuration */
  HAL_NVIC_SetPriority(DMA1_Channel1_IRQn, 1, 0);
  HAL_NVIC_EnableIRQ(DMA1_Channel1_IRQn);
  /* DMA1_Channel2_IRQn interrupt configuration */
  HAL_NVIC_SetPriority(DMA1_Channel2_IRQn, 2, 0);
  HAL_NVIC_EnableIRQ(DMA1_Channel2_IRQn);
  /* DMA1_Channel3_IRQn interrupt configuration */
  HAL_NVIC_SetPriority(DMA1_Channel3_IRQn, 3, 0);
  HAL_NVIC_EnableIRQ(DMA1_Channel3_IRQn);

}

static void MX_GPIO_Init(void)
{
  GPIO_InitTypeDef GPIO_InitStruct = {0};

  /* GPIO Ports Clock Enable */
  __HAL_RCC_GPIOF_CLK_ENABLE();
  __HAL_RCC_GPIOC_CLK_ENABLE();
  __HAL_RCC_GPIOA_CLK_ENABLE();
  __HAL_RCC_GPIOB_CLK_ENABLE();

  /*Configure GPIO pin Output Level */
  HAL_GPIO_WritePin(FAN_LEFT_CTRL_GPIO_Port, FAN_LEFT_CTRL_Pin, GPIO_PIN_RESET);

  /*Configure GPIO pin Output Level */
  HAL_GPIO_WritePin(GPIOA, GPIO_PIN_1, GPIO_PIN_RESET);

  /*Configure GPIO pin Output Level */
  HAL_GPIO_WritePin(GPIOB, FAN_RIGHT_CTRL_Pin|GPIO_PIN_11|GPIO_PIN_12, GPIO_PIN_RESET);

  /*Configure GPIO pin Output Level */
  HAL_GPIO_WritePin(GPIOC, GPIO_PIN_12, GPIO_PIN_RESET);

  /*Configure GPIO pin : FAN_LEFT_CTRL_Pin */
  GPIO_InitStruct.Pin = FAN_LEFT_CTRL_Pin;
  GPIO_InitStruct.Mode = GPIO_MODE_OUTPUT_PP;
  GPIO_InitStruct.Pull = GPIO_NOPULL;
  GPIO_InitStruct.Speed = GPIO_SPEED_FREQ_LOW;
  HAL_GPIO_Init(FAN_LEFT_CTRL_GPIO_Port, &GPIO_InitStruct);

  /*Configure GPIO pin : PA1 */
  GPIO_InitStruct.Pin = GPIO_PIN_1;
  GPIO_InitStruct.Mode = GPIO_MODE_OUTPUT_PP;
  GPIO_InitStruct.Pull = GPIO_NOPULL;
  GPIO_InitStruct.Speed = GPIO_SPEED_FREQ_LOW;
  HAL_GPIO_Init(GPIOA, &GPIO_InitStruct);

  /*Configure GPIO pins : FAN_RIGHT_CTRL_Pin PB11 PB12 */
  GPIO_InitStruct.Pin = FAN_RIGHT_CTRL_Pin|GPIO_PIN_11|GPIO_PIN_12;
  GPIO_InitStruct.Mode = GPIO_MODE_OUTPUT_PP;
  GPIO_InitStruct.Pull = GPIO_NOPULL;
  GPIO_InitStruct.Speed = GPIO_SPEED_FREQ_LOW;
  HAL_GPIO_Init(GPIOB, &GPIO_InitStruct);

  /*Configure GPIO pin : PC12 */
  GPIO_InitStruct.Pin = GPIO_PIN_12;
  GPIO_InitStruct.Mode = GPIO_MODE_OUTPUT_PP;
  GPIO_InitStruct.Pull = GPIO_NOPULL;
  GPIO_InitStruct.Speed = GPIO_SPEED_FREQ_LOW;
  HAL_GPIO_Init(GPIOC, &GPIO_InitStruct);

}

/* USER CODE BEGIN 4 */
void FDCAN_Config(void)
{
  FDCAN_FilterTypeDef sFilterConfig;

  /* Configure Rx filter */
  sFilterConfig.IdType = FDCAN_STANDARD_ID;
  sFilterConfig.FilterIndex = 0;
  sFilterConfig.FilterType = FDCAN_FILTER_DISABLE;
  sFilterConfig.FilterConfig = FDCAN_FILTER_TO_RXFIFO0;
  sFilterConfig.FilterID1 = 0x00;
  sFilterConfig.FilterID2 = 0x00;
  if (HAL_FDCAN_ConfigFilter(&hfdcan1, &sFilterConfig) != HAL_OK)
  {
    Error_Handler();
  }

  /* Configure global filter:
     Filter all remote frames with STD and EXT ID
     Reject non matching frames with STD ID and EXT ID */
  if (HAL_FDCAN_ConfigGlobalFilter(&hfdcan1, FDCAN_REJECT, FDCAN_REJECT, FDCAN_FILTER_REMOTE, FDCAN_FILTER_REMOTE) != HAL_OK)
  {
    Error_Handler();
  }

  /* Start the FDCAN module */
  if (HAL_FDCAN_Start(&hfdcan1) != HAL_OK)
  {
    Error_Handler();
  }

  if (HAL_FDCAN_ActivateNotification(&hfdcan1, FDCAN_IT_RX_FIFO0_NEW_MESSAGE, 0) != HAL_OK)
  {
    Error_Handler();
  }

}

void SENSOR_IO_Init(void)
{

  /* USER CODE BEGIN I2C3_Init 0 */

  /* USER CODE END I2C3_Init 0 */

  /* USER CODE BEGIN I2C3_Init 1 */

  /* USER CODE END I2C3_Init 1 */
  hi2c3.Instance = I2C3;
  hi2c3.Init.Timing = 0x00303D5B;
  hi2c3.Init.OwnAddress1 = 0;
  hi2c3.Init.AddressingMode = I2C_ADDRESSINGMODE_7BIT;
  hi2c3.Init.DualAddressMode = I2C_DUALADDRESS_DISABLE;
  hi2c3.Init.OwnAddress2 = 0;
  hi2c3.Init.OwnAddress2Masks = I2C_OA2_NOMASK;
  hi2c3.Init.GeneralCallMode = I2C_GENERALCALL_DISABLE;
  hi2c3.Init.NoStretchMode = I2C_NOSTRETCH_DISABLE;
  if (HAL_I2C_Init(&hi2c3) != HAL_OK)
  {
    Error_Handler();
  }
  /** Configure Analogue filter
  */
  if (HAL_I2CEx_ConfigAnalogFilter(&hi2c3, I2C_ANALOGFILTER_ENABLE) != HAL_OK)
  {
    Error_Handler();
  }
  /** Configure Digital filter
  */
  if (HAL_I2CEx_ConfigDigitalFilter(&hi2c3, 0) != HAL_OK)
  {
    Error_Handler();
  }
  /* USER CODE BEGIN I2C3_Init 2 */

  /* USER CODE END I2C3_Init 2 */

}

void SENSOR_IO_Write(uint8_t Addr, uint8_t Reg, uint8_t Value){
		if(HAL_I2C_Mem_Write(&hi2c3,Addr,Reg,1,&Value,1,1000) != HAL_ERROR){
			//HAL_IWDG_Refresh(&hiwdg);
		}

		if(SENSOR_IO_Read(Addr, Reg) == Value){
			//HAL_IWDG_Refresh(&hiwdg);
		}
}
uint8_t res[10] = {0,0,0,0,0,0,0,0,0,0};
uint8_t SENSOR_IO_Read(uint8_t Addr, uint8_t Reg){

	if(HAL_I2C_Mem_Read(&hi2c3,Addr,Reg,1,res,1,1000) != HAL_ERROR){
		//HAL_IWDG_Refresh(&hiwdg);
	}

	return res[0];
}

uint8_t readRes[10] = {0,0,0,0,0,0,0,0,0,0};
uint16_t readI = 0;
uint16_t SENSOR_IO_ReadMultiple(uint8_t Addr, uint8_t Reg, uint8_t *Buffer, uint16_t Length){
	for(readI = 0; readI<Length; readI++){
		Buffer[readI] = HAL_I2C_Mem_Read(&hi2c3,Addr,Reg+readI,1,readRes,Length,1000);
	}

	uint16_t result = (Buffer[1] << 8)+ Buffer[0];

	return result;
}

void HAL_ADC_ConvCpltCallback(ADC_HandleTypeDef* hadc)
{
		int i = 0;
		if(hadc == &hadc1){
			for(i=0; i<ADC1NUMConversions; i++){
				lastConversionResults[i]=uhADCxConvertedData[i];
				averageConversionResults[i] = (int16_t)(dsp_ema_i32(lastConversionResults[i], averageConversionResults[i], DSP_EMA_I32_ALPHA(0.1)));
			}
			ADC1Conversions++;
		}
		else if(hadc == &hadc3){
			for(i=0; i<ADC3NUMConversions; i++){
				lastConversionResults[i+ADC1NUMConversions]=uhADC3ConvertedData[i];
				averageConversionResults[i+ADC1NUMConversions] = (int16_t)(dsp_ema_i32(lastConversionResults[i+ADC1NUMConversions], averageConversionResults[i+ADC1NUMConversions], DSP_EMA_I32_ALPHA(0.1)));
			}
			ADC3Conversions++;
		}
		else if(hadc == &hadc2){
			for(i=0; i<ADC2NUMConversions; i++){
				lastConversionResults[i+ADC3NUMConversions+ADC1NUMConversions]=uhADC2ConvertedData[i];
				averageConversionResults[i+ADC1NUMConversions+ADC3NUMConversions] = (int16_t)(dsp_ema_i32(lastConversionResults[i+ADC1NUMConversions+ADC3NUMConversions], averageConversionResults[i+ADC1NUMConversions+ADC3NUMConversions], DSP_EMA_I32_ALPHA(0.1)));
			}
			ADC2Conversions++;
		}

		// Conversion Complete & DMA Transfer Complete As Well
    // So The AD_RES Is Now Updated & Let's Move IT To The PWM CCR1

		//HAL_ADC_Start_DMA(&hadc1,uhADCxConvertedData,10);
}

// Callback: timer has rolled over
void HAL_TIM_PeriodElapsedCallback(TIM_HandleTypeDef *htim)
{
	//CH3 - AUX - single fan 		index 4	 FAN LEFT
		//CH4 - ETC - single fan	 	index 5  FAN RIGHT
		//CH5 - SCRET - FANS ON 		index 6
		//CS1 ADC 2 IN 4				ID7
		//BOTH FANS ADC 2 IN 11	ID9
		//FUEL ADC 2 IN 15			ID10

			/* Prepare Tx Header */
			TxHeader.Identifier = 0x105;
			TxHeader.IdType = FDCAN_STANDARD_ID;
			TxHeader.TxFrameType = FDCAN_DATA_FRAME;
			TxHeader.DataLength = FDCAN_DLC_BYTES_8;
			TxHeader.ErrorStateIndicator = FDCAN_ESI_ACTIVE;
			TxHeader.BitRateSwitch = FDCAN_BRS_OFF;
			TxHeader.FDFormat = FDCAN_CLASSIC_CAN;
			TxHeader.TxEventFifoControl = FDCAN_NO_TX_EVENTS;
			TxHeader.MessageMarker = 0;

	    TxData[0] = averageConversionResults[4] & 0xFF;
	    TxData[1] = ((averageConversionResults[4] >> 8) & 0xFF ) | ((averageConversionResults[5] & 0xF )<<4);
			TxData[2] = (averageConversionResults[5]>> 4);
			TxData[3] = averageConversionResults[6] & 0xFF;
	    TxData[4] = ((averageConversionResults[6] >> 8) & 0xFF ) | ((averageConversionResults[7] & 0xF )<<4);
			TxData[5] = (averageConversionResults[7]>> 4);
			TxData[6] = averageConversionResults[9] & 0xFF;
	    TxData[7] = ((averageConversionResults[9] >> 8) & 0xFF );
	        /* Start the Transmission process */
	    if (HAL_FDCAN_AddMessageToTxFifoQ(&hfdcan1, &TxHeader, TxData) != HAL_OK)
			{
				/* Transmission request Error */
				Error_Handler();
			}

			TxHeader.Identifier = 0x106;
			TxHeader.IdType = FDCAN_STANDARD_ID;
			TxHeader.TxFrameType = FDCAN_DATA_FRAME;
			TxHeader.DataLength = FDCAN_DLC_BYTES_8;
			TxHeader.ErrorStateIndicator = FDCAN_ESI_ACTIVE;
			TxHeader.BitRateSwitch = FDCAN_BRS_OFF;
			TxHeader.FDFormat = FDCAN_CLASSIC_CAN;
			TxHeader.TxEventFifoControl = FDCAN_NO_TX_EVENTS;
			TxHeader.MessageMarker = 0;

	    TxData[0] = averageConversionResults[10] & 0xFF;
	    TxData[1] = ((averageConversionResults[10] >> 8) & 0xFF );
			TxData[2] = accelerationRes[0] & 0xFF;
	    TxData[3] = ((accelerationRes[0] >> 8));
			TxData[4] = accelerationRes[1] & 0xFF;
	    TxData[5] = ((accelerationRes[1] >> 8));
			TxData[6] = accelerationRes[2] & 0xFF;
	    TxData[7] = ((accelerationRes[2] >> 8));
	        /* Start the Transmission process */
	    if (HAL_FDCAN_AddMessageToTxFifoQ(&hfdcan1, &TxHeader, TxData) != HAL_OK)
			{
				/* Transmission request Error */
				Error_Handler();
			}

			HAL_FDCAN_GetErrorCounters(&hfdcan1, &errorCounter);
			HAL_FDCAN_IsRestrictedOperationMode(&hfdcan1);
			HAL_FDCAN_GetProtocolStatus(&hfdcan1, &protocolStatus);

			if(protocolStatus.BusOff==1){
				HAL_FDCAN_ExitRestrictedOperationMode(&hfdcan1);
				if (HAL_FDCAN_Start(&hfdcan1) != HAL_OK)
				{
					Error_Handler();
				}
			}
			else{
				//Refresh watchdog
				HAL_IWDG_Refresh(&hiwdg);
				//Temporary weirdness fix
				//SET AUX (LEFT FAN) OFF
				HAL_GPIO_WritePin(GPIOF,GPIO_PIN_1,GPIO_PIN_RESET);
				//SET ETC (RIGHT FAN) OFF
				HAL_GPIO_WritePin(GPIOB,GPIO_PIN_10,GPIO_PIN_RESET);
				//
				HAL_GPIO_WritePin(FAN_LEFT_CTRL_GPIO_Port,FAN_LEFT_CTRL_Pin,GPIO_PIN_RESET);
				  	//SET ETC (RIGHT FAN) OFF
				  	HAL_GPIO_WritePin(FAN_RIGHT_CTRL_GPIO_Port,FAN_RIGHT_CTRL_Pin,GPIO_PIN_RESET);

				  	//HAL_GPIO_TogglePin(CTULogo_GPIO_Port,CTULogo_Pin);
			}
}

int32_t dsp_ema_i32(int32_t in, int32_t average, uint16_t alpha){
  int64_t tmp0; //calcs must be done in 64-bit math to avoid overflow
  tmp0 = (int64_t)in * (alpha) + (int64_t)average * (65536 - alpha);
  return (int32_t)((tmp0 + 32768) / 65536); //scale back to 32-bit (with rounding)
}

//here is a function that uses the averaging code

/* USER CODE END 4 */

void Error_Handler(void)
{
}

/************************ (C) COPYRIGHT STMicroelectronics *****END OF FILE****/
